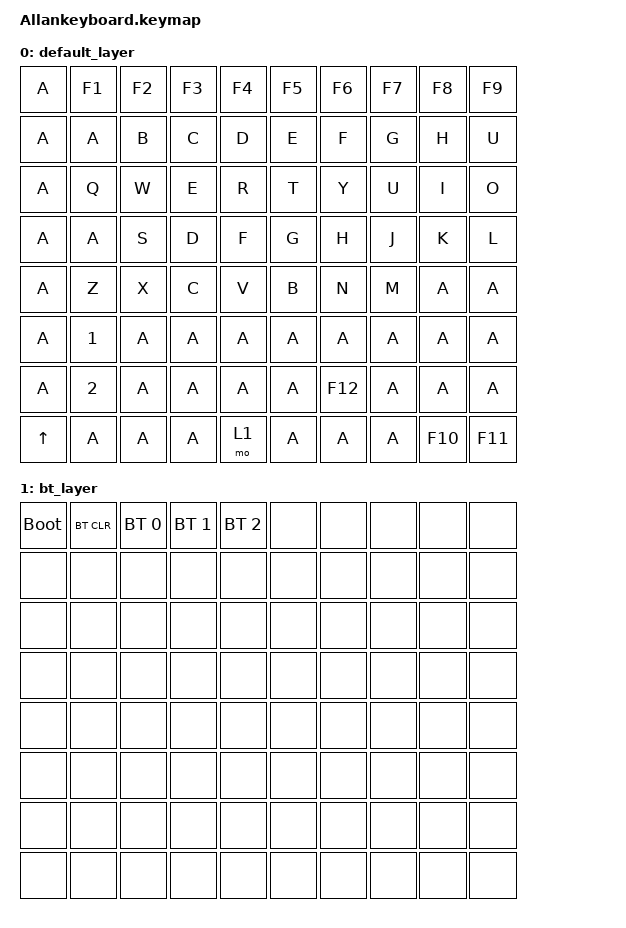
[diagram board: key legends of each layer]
#include <behaviors.dtsi>
#include <dt-bindings/zmk/keys.h>
#include <dt-bindings/zmk/bt.h>

/ {
    keymap {
        compatible = "zmk,keymap";

        default_layer {
            bindings = <
                &kp A       &kp F1    &kp F2    &kp F3    &kp F4    &kp F5    &kp F6    &kp F7    &kp F8    &kp F9
                &kp A       &kp A     &kp B     &kp C     &kp D     &kp E     &kp F     &kp G     &kp H     &kp U
                &kp A       &kp Q     &kp W     &kp E     &kp R     &kp T     &kp Y     &kp U     &kp I     &kp O
                &kp A       &kp A     &kp S     &kp D     &kp F     &kp G     &kp H     &kp J     &kp K     &kp L
                &kp A       &kp Z     &kp X     &kp C     &kp V     &kp B     &kp N     &kp M     &kp A     &kp A
                &kp A       &kp 1     &kp A     &kp A     &kp A     &kp A     &kp A     &kp A     &kp A     &kp A
                &kp A       &kp 2     &kp A     &kp A     &kp A     &kp A     &kp F12   &kp A     &kp A     &kp A
                &kp UP      &kp A     &kp A     &kp A     &mo 1     &kp A     &kp A     &kp A     &kp F10    &kp F11
            >;
        };

        bt_layer {
            bindings = <
                &bootloader &bt BT_CLR &bt BT_SEL 0 &bt BT_SEL 1 &bt BT_SEL 2
                &none &none &none &none &none
                &none &none &none &none &none &none &none &none &none &none
                &none &none &none &none &none &none &none &none &none &none
                &none &none &none &none &none &none &none &none &none &none
                &none &none &none &none &none &none &none &none &none &none
                &none &none &none &none &none &none &none &none &none &none
                &none &none &none &none &none &none &none &none &none &none
                &none &none &none &none &none &none &none &none &none &none
            >;
        };
    };
};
